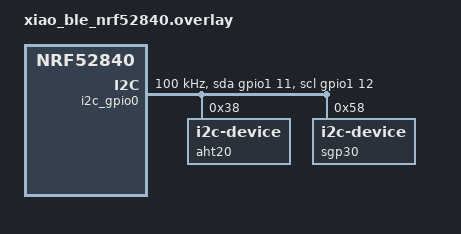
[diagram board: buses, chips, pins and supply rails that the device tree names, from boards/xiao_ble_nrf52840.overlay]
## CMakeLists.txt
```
#-------------------------------------------------------------------------------
# Zephyr Example Application
#
# Copyright (c) 2021 Nordic Semiconductor ASA
# SPDX-License-Identifier: Apache-2.0

cmake_minimum_required(VERSION 3.13.1)
find_package(Zephyr REQUIRED HINTS $ENV{ZEPHYR_BASE})

project(app)

target_sources(app PRIVATE 
        src/main.cpp
        src/sensors.cpp
)
```

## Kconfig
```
source "Kconfig.zephyr"

config MESH_LOG_LEVEL
    int "Log level for nrfMeshCore project"
    default 3
    range 0 4
    
```

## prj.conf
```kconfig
# Enable logging
CONFIG_LOG=y
CONFIG_LOG_MODE_MINIMAL=y
CONFIG_LOG_MODE_DEFERRED=n
CONFIG_MESH_LOG_LEVEL=4
CONFIG_PRINTK=y




# Add support for sensors
CONFIG_I2C=y
CONFIG_I2C_GPIO=y
CONFIG_SENSOR=y
CONFIG_GPIO=y

# Enable C++
CONFIG_CPP=y
# Enable floating point formats
CONFIG_CBPRINTF_FP_SUPPORT=y

# Enable SPI and LoRa for SX1262
CONFIG_SPI=y
CONFIG_LORA=y
CONFIG_LORA_SX126X=y
```

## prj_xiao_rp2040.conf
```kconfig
CONFIG_SERIAL=y
CONFIG_CONSOLE=y
CONFIG_UART_CONSOLE=y
CONFIG_STDOUT_CONSOLE=y
CONFIG_UART_LINE_CTRL=y

CONFIG_USB_DEVICE_STACK_NEXT=y
CONFIG_CDC_ACM_SERIAL_INITIALIZE_AT_BOOT=y
CONFIG_CDC_ACM_SERIAL_PID=0x0004
CONFIG_CDC_ACM_SERIAL_PRODUCT_STRING="RP2040 Serial"
```

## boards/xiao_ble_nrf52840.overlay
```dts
&i2c1 {
    status = "disabled";

};

&uart0 {
    status = "disabled";
};

/ {
    i2c_gpio0: i2c_gpio0 {
        compatible = "gpio-i2c";
        #address-cells = <1>;
        #size-cells = <0>;

        sda-gpios = <&gpio1 11 (GPIO_ACTIVE_HIGH | GPIO_OPEN_DRAIN)>;
        scl-gpios = <&gpio1 12 (GPIO_ACTIVE_HIGH | GPIO_OPEN_DRAIN)>;

        clock-frequency = <I2C_BITRATE_STANDARD>;

        status = "okay";

    
        aht20: aht20@38{
            compatible = "i2c-device";
            status = "okay";
            reg = <0x38>;
        };

        sgp30: sgp30@58{
            compatible = "i2c-device";
            status = "okay";
            reg = <0x58>;
        };
    };
};
```

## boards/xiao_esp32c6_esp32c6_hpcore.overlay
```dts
&i2c0 {
    status = "disabled";
};

&uart0 {
    status = "disabled";
};

/ {
    i2c_gpio0: i2c_gpio0 {
        compatible = "gpio-i2c";  /* must use Zephyr driver string */
        #address-cells = <1>;
        #size-cells = <0>;
        clock-frequency = <I2C_BITRATE_STANDARD>;
        status = "okay";

        sda-gpios = <&gpio0 16 (GPIO_ACTIVE_HIGH | GPIO_OPEN_DRAIN)>;
        scl-gpios = <&gpio0 17 (GPIO_ACTIVE_HIGH | GPIO_OPEN_DRAIN)>;



        aht20: aht20@38 {
            compatible = "i2c-device";
            reg = <0x38>;
            status = "okay";
        };
    };
};
```

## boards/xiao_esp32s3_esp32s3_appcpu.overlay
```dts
/ {
    aliases {
        led0 = &blink_led;
    };

    leds {
        compatible = "gpio-leds";

        blink_led: blink_led {
            gpios = <&gpio0 21 GPIO_ACTIVE_HIGH>;
            label = "Onboard Blink LED";
        };
    };
};
```

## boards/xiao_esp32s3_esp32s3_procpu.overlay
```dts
&i2c0 {
    status = "disabled";  /* disable hardware I2C0 */
};

&uart0 {
    status = "disabled";  /* free D6/D7 */
};


/ {
    i2c_gpio0: i2c_gpio0 {
        compatible = "gpio-i2c";  /* must use Zephyr driver string */
        #address-cells = <1>;
        #size-cells = <0>;
        clock-frequency = <I2C_BITRATE_STANDARD>;
        status = "okay";

        sda-gpios = <&gpio 43 (GPIO_ACTIVE_HIGH | GPIO_OPEN_DRAIN)>;
        scl-gpios = <&gpio 44 (GPIO_ACTIVE_HIGH | GPIO_OPEN_DRAIN)>;



        aht20: aht20@38 {
            compatible = "i2c-device";
            reg = <0x38>;
            status = "okay";
        };
        
        sgp30: sgp30@58{
            compatible = "i2c-device";
            status = "okay";
            reg = <0x58>;
        };
    };
};
```

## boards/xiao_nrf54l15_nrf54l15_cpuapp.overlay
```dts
&i2c22 {

    status = "disabled";

	// clock-frequency = <I2C_BITRATE_STANDARD>;

    
    // aht20: aht20@38{
    //     compatible = "i2c-device";
    //     status = "okay";
    //     reg = <0x38>;
    // };

    // sgp30: sgp30@58{
    //     compatible = "i2c-device";
    //     status = "okay";
    //     reg = <0x58>;
    // };
};

&uart21 {
    status = "disabled";
};

&i2c30 {
    status = "disabled";
};

/ {
    i2c_gpio0: i2c_gpio0 {
        compatible = "gpio-i2c";
        #address-cells = <1>;
        #size-cells = <0>;

        sda-gpios = <&gpio2 8 (GPIO_ACTIVE_HIGH | GPIO_OPEN_DRAIN)>;
        scl-gpios = <&gpio2 7 (GPIO_ACTIVE_HIGH | GPIO_OPEN_DRAIN)>;

        clock-frequency = <I2C_BITRATE_STANDARD>;

        status = "okay";

    
        aht20: aht20@38{
            compatible = "i2c-device";
            status = "okay";
            reg = <0x38>;
        };

        sgp30: sgp30@58{
            compatible = "i2c-device";
            status = "okay";
            reg = <0x58>;
        };
    };
};
```

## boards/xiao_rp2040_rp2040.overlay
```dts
/ {
    chosen{
        zephyr,console = &cdc_acm_uart1;
    };

    i2c_gpio0: i2c_gpio0 {
        compatible = "gpio-i2c";
        #address-cells = <1>;
        #size-cells = <0>;

        status = "okay";

        sda-gpios = <&gpio0 0 (GPIO_ACTIVE_HIGH | GPIO_OPEN_DRAIN)>;
        scl-gpios = <&gpio0 1 (GPIO_ACTIVE_HIGH | GPIO_OPEN_DRAIN)>;
        
        clock-frequency = <I2C_BITRATE_STANDARD>;

        aht20: aht20@38{
            compatible = "i2c-device";
            status = "okay";
            reg = <0x38>;
        };
        
        sgp30: sgp30@58{
            compatible = "i2c-device";
            status = "okay";
            reg = <0x58>;
        };
    };
    
};

&i2c1 {
    status = "disabled";
};

&zephyr_udc0 {
        cdc_acm_uart1: cdc_acm_uart1 {
            compatible = "zephyr,cdc-acm-uart";
            label = "CDC_ACM_1";
            #address-cells = <1>;
            #size-cells = <0>;
        };
    };

&uart0 {
    status = "disabled";
};
```

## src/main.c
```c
/*
 * Copyright (c) 2016 Intel Corporation
 *
 * SPDX-License-Identifier: Apache-2.0
 */

 #include <stdio.h>
 #include <zephyr/kernel.h>
 #include <zephyr/drivers/gpio.h>
 
 /* 1000 msec = 1 sec */
 #define SLEEP_TIME_MS   5000
 
 /* The devicetree node identifier for the "led0" alias. */
 #define LED0_NODE DT_ALIAS(led0)
 
 /*
  * A build error on this line means your board is unsupported.
  * See the sample documentation for information on how to fix this.
  */
 static const struct gpio_dt_spec led = GPIO_DT_SPEC_GET(LED0_NODE, gpios);
 
 int main(void)
 {
	 int ret;
	 bool led_state = true;
 
	 if (!gpio_is_ready_dt(&led)) {
		 return 0;
	 }
 
	 ret = gpio_pin_configure_dt(&led, GPIO_OUTPUT_ACTIVE);
	 if (ret < 0) {
		 return 0;
	 }
 
	 while (1) {
		 ret = gpio_pin_toggle_dt(&led);
		 if (ret < 0) {
			 return 0;
		 }
 
		 led_state = !led_state;
		 printf("LED state: %s\n", led_state ? "ON" : "OFF");
		 k_msleep(SLEEP_TIME_MS);
	 }
	 return 0;
 }
```

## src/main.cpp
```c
#include <zephyr/kernel.h>
#include <zephyr/device.h>
#include <zephyr/devicetree.h>
#include <zephyr/drivers/i2c.h>
#include <zephyr/sys/printk.h>
#include <zephyr/logging/log.h>

LOG_MODULE_REGISTER(multiSensor, CONFIG_MESH_LOG_LEVEL);

#include "sensors.h"
// Allow logging, with default of warn and errors allowed





int main(void){
	
    int num_sensors, num_reads;

    num_sensors = sensor_init();


    if (num_sensors > 0) {
        while(1) {
            num_reads = sensor_read();
            if(num_reads < num_sensors) LOG_WRN("At least one sensor did not read");
            k_sleep(K_SECONDS(5));
        }
    }
    else {
        while(1){
            LOG_WRN("No sensors initialized. Exiting");
            k_sleep(K_SECONDS(5));
        }
    }

	return 0;
}
```

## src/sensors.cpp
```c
#include <zephyr/kernel.h>
#include <zephyr/device.h>
#include <zephyr/devicetree.h>
#include <zephyr/drivers/i2c.h>
#include <zephyr/logging/log.h>
LOG_MODULE_DECLARE(multiSensor);
extern "C" {
    #include <zephyr/sys/printk.h>
}


/* ----------------------------------------------------------------
 * AHT20 sensor
 * ---------------------------------------------------------------- */
#if DT_NODE_EXISTS(DT_NODELABEL(aht20))
#define AHT_NODE DT_NODELABEL(aht20)

#define AHT_STATUS_ADDR            0x71
#define AHT_STATUS_ID_MASK         0x18
#define AHT_BUSY_MASK              0x80
#define AHT_DATA_LEN               6
#define AHT_TRIGGER_MEASURE_LEN    3

static const struct i2c_dt_spec aht_i2c = I2C_DT_SPEC_GET(AHT_NODE);

int aht20_read(const struct i2c_dt_spec *i2c_dev) {
    uint8_t trigger_measure[AHT_TRIGGER_MEASURE_LEN] = {0xAC, 0x33, 0x00};
    uint8_t status_reg = AHT_STATUS_ADDR;
    uint8_t id;
    uint8_t data[AHT_DATA_LEN] = {0};
    int ret;

    ret = i2c_write_dt(i2c_dev, trigger_measure, sizeof(trigger_measure));
    if (ret) {
        LOG_ERR("AHT20: failed to send measurement command");
        return ret;
    }

    k_msleep(80);

    ret = i2c_write_read_dt(i2c_dev, &status_reg, 1, &id, 1);
    if (ret) {
        LOG_ERR("AHT20: failed to read status register");
        return ret;
    }

    if (id & AHT_BUSY_MASK) {
        LOG_ERR("AHT20: still busy after 80ms");
        return -EBUSY;
    }

    ret = i2c_read_dt(i2c_dev, data, sizeof(data));
    if (ret) {
        LOG_ERR("AHT20: failed to read sensor data");
        return ret;
    }

    uint32_t raw_humidity = ((uint32_t)data[1] << 12) |
                            ((uint32_t)data[2] << 4) |
                            ((data[3] & 0xF0) >> 4);
    uint32_t raw_temperature = ((uint32_t)(data[3] & 0x0F) << 16) |
                               ((uint32_t)data[4] << 8) | data[5];

    float humidity = ((float)raw_humidity * 100.0f) / 1048576.0f;
    float temperature = ((float)raw_temperature * 200.0f) / 1048576.0f - 50.0f;

    LOG_INF("AHT20 Humidity: %.2f %%", (double)humidity);
    LOG_INF("AHT20 Temperature: %.2f °C", (double)temperature);
    LOG_DBG("AHT20 Raw data: %02X %02X %02X %02X %02X %02X",
            data[0], data[1], data[2], data[3], data[4], data[5]);

    return 0;
}

int aht20_init(const struct i2c_dt_spec *i2c_dev) {
    if (!device_is_ready(i2c_dev->bus)) {
        LOG_ERR("AHT20 I2C bus not ready");
        return -ENODEV;
    }

    uint8_t status_reg = AHT_STATUS_ADDR;
    uint8_t id;
    if (i2c_write_read_dt(i2c_dev, &status_reg, 1, &id, 1) ||
        (id & AHT_STATUS_ID_MASK) != AHT_STATUS_ID_MASK) {
        LOG_ERR("AHT20: invalid initial status (0x%02X)", id);
        return -EIO;
    }

    LOG_INF("AHT20 initialized");
    return 0;
}
#endif /* AHT20 */

/* ----------------------------------------------------------------
 * SGP30 sensor
 * ---------------------------------------------------------------- */
#if DT_NODE_EXISTS(DT_NODELABEL(sgp30))
#define SGP_NODE DT_NODELABEL(sgp30)

static const struct i2c_dt_spec sgp_i2c = I2C_DT_SPEC_GET(SGP_NODE);

static uint8_t sgp_crc8(uint8_t *data, size_t len) {
    uint8_t crc = 0xFF;
    for (size_t i = 0; i < len; i++) {
        crc ^= data[i];
        for (uint8_t bit = 0; bit < 8; bit++) {
            crc = (crc & 0x80) ? (crc << 1) ^ 0x31 : (crc << 1);
        }
    }
    return crc;
}

int sgp30_init(const struct i2c_dt_spec *i2c_dev) {
    uint8_t cmd[2] = {0x20, 0x03}; /* IAQ init command */
    int ret = i2c_write_dt(i2c_dev, cmd, sizeof(cmd));
    if (ret) {
        LOG_ERR("SGP30: failed to send init command");
        return ret;
    }
    k_msleep(10);
    LOG_INF("SGP30 initialized");
    return 0;
}

int sgp30_read(const struct i2c_dt_spec *i2c_dev) {
    uint8_t cmd[2] = {0x20, 0x08}; /* measure air quality */
    uint8_t data[6];
    int ret = i2c_write_dt(i2c_dev, cmd, sizeof(cmd));
    if (ret) {
        LOG_ERR("SGP30: failed to send measure command");
        return ret;
    }

    k_msleep(12);

    ret = i2c_read_dt(i2c_dev, data, sizeof(data));
    if (ret) {
        LOG_ERR("SGP30: failed to read data");
        return ret;
    }

    if (sgp_crc8(data, 2) != data[2] || sgp_crc8(data + 3, 2) != data[5]) {
        LOG_ERR("SGP30: CRC error");
        return -EIO;
    }

    uint16_t eCO2 = (data[0] << 8) | data[1];
    uint16_t TVOC = (data[3] << 8) | data[4];

    LOG_INF("SGP30 eCO2: %u ppm, TVOC: %u ppb", eCO2, TVOC);
    return 0;
}
#endif /* SGP30 */

/* ----------------------------------------------------------------
 * Unified init/read wrappers
 * ---------------------------------------------------------------- */
int sensor_init(void) {
    int ret = 0;

#if DT_NODE_EXISTS(DT_NODELABEL(sgp30))
    ret += 1 - sgp30_init(&sgp_i2c);
    // FIXME replace with logic in event of failure to init
#endif
#if DT_NODE_EXISTS(DT_NODELABEL(aht20))
    ret += 1 - aht20_init(&aht_i2c);
    // FIXME replace with logic in event of failure to init
#endif
    return ret;
}

int sensor_read(void) {
    int ret = 0;

#if DT_NODE_EXISTS(DT_NODELABEL(sgp30))
    ret += 1 - sgp30_read(&sgp_i2c);
#endif
#if DT_NODE_EXISTS(DT_NODELABEL(aht20))
    ret += 1 - aht20_read(&aht_i2c);
#endif
    return ret;
}
```

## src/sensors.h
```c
// sensors.h
#pragma once

int sensor_init();
int sensor_read();
```
